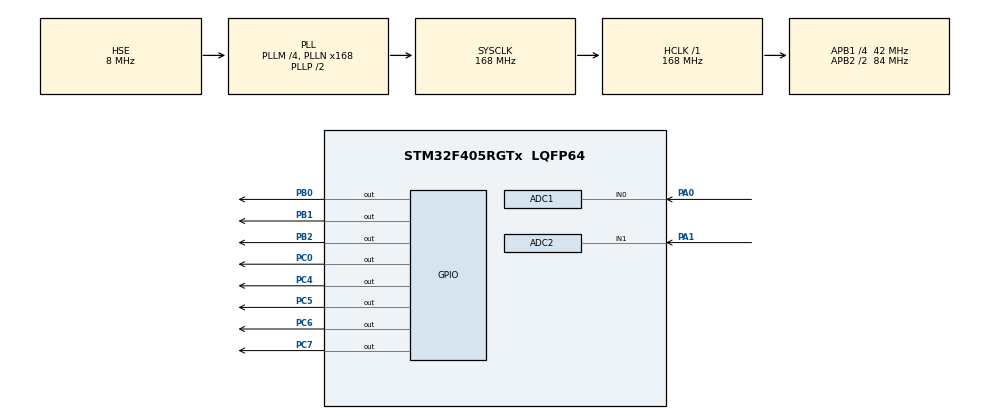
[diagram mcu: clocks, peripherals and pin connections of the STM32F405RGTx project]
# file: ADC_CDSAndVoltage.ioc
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Mcu.Family=STM32F4
RCC.PLLSourceVirtual=RCC_PLLSOURCE_HSE
PH0-OSC_IN.Signal=RCC_OSC_IN
Dma.ADC1.0.Instance=DMA2_Stream0
RCC.CortexFreq_Value=168000000
ADC1.Rank-0\#ChannelRegularConversion=1
ADC2.SamplingTime-1\#ChannelRegularConversion=ADC_SAMPLETIME_56CYCLES
ADC1.ContinuousConvMode=ENABLE
PC4.Signal=GPIO_Output
PC6.Signal=GPIO_Output
PC0.Signal=GPIO_Output
RCC.APB1CLKDivider=RCC_HCLK_DIV4
RCC.SYSCLKSource=RCC_SYSCLKSOURCE_PLLCLK
ProjectManager.StackSize=0x400
PA0-WKUP.Signal=ADCx_IN0
PA13.Signal=SYS_JTMS-SWDIO
Dma.ADC1.0.PeriphDataAlignment=DMA_PDATAALIGN_HALFWORD
ADC2.ContinuousConvMode=ENABLE
ProjectManager.TargetToolchain=EWARM V8.32
ADC2.DMAContinuousRequests=ENABLE
Dma.ADC1.0.Mode=DMA_CIRCULAR
RCC.HCLKFreq_Value=168000000
Dma.ADC1.0.Priority=DMA_PRIORITY_LOW
RCC.APB2TimFreq_Value=168000000
Dma.ADC1.0.Direction=DMA_PERIPH_TO_MEMORY
PC7.Signal=GPIO_Output
NVIC.DMA2_Stream0_IRQn=true\:0\:0\:false\:false\:true\:false\:true
Dma.ADC2.1.Mode=DMA_CIRCULAR
RCC.LSE_VALUE=32768
Dma.ADC1.0.MemDataAlignment=DMA_MDATAALIGN_HALFWORD
PA1.Signal=ADCx_IN1
RCC.AHBFreq_Value=168000000
PH0-OSC_IN.Mode=HSE-External-Oscillator
ADC1.Channel-0\#ChannelRegularConversion=ADC_CHANNEL_0
Dma.ADC2.1.FIFOMode=DMA_FIFOMODE_DISABLE
RCC.HSE_VALUE=8000000
PB2.Signal=GPIO_Output
board=custom
RCC.VCOOutputFreq_Value=336000000
Dma.ADC2.1.Instance=DMA2_Stream2
RCC.APB2Freq_Value=84000000
PA14.Mode=Serial_Wire
Dma.ADC1.0.PeriphInc=DMA_PINC_DISABLE
PH1-OSC_OUT.Signal=RCC_OSC_OUT
Dma.ADC2.1.PeriphInc=DMA_PINC_DISABLE
SH.ADCx_IN0.0=ADC1_IN0,IN0
ADC1.DMAContinuousRequests=ENABLE
Dma.ADC2.1.MemInc=DMA_MINC_ENABLE
ADC1.NbrOfConversion=1
PA13.Mode=Serial_Wire
Mcu.Name=STM32F405RGTx
ADC1.SamplingTime-0\#ChannelRegularConversion=ADC_SAMPLETIME_56CYCLES
PH1-OSC_OUT.Mode=HSE-External-Oscillator
RCC.48MHZClocksFreq_Value=84000000
RCC.SYSCLKFreq_VALUE=168000000
Mcu.Package=LQFP64
Dma.ADC2.1.Direction=DMA_PERIPH_TO_MEMORY
PB1.Signal=GPIO_Output
ADC1.master=1
ADC2.NbrOfConversionFlag=1
ADC2.Channel-1\#ChannelRegularConversion=ADC_CHANNEL_1
PA14.Signal=SYS_JTCK-SWCLK
Dma.ADC1.0.MemInc=DMA_MINC_ENABLE
ProjectManager.HeapSize=0x200
RCC.HSI_VALUE=16000000
NVIC.PriorityGroup=NVIC_PRIORITYGROUP_4
ADC1.NbrOfConversionFlag=1
RCC.APB2CLKDivider=RCC_HCLK_DIV2
SH.ADCx_IN1.0=ADC2_IN1,IN1
Dma.ADC2.1.MemDataAlignment=DMA_MDATAALIGN_HALFWORD
NVIC.DMA2_Stream2_IRQn=true\:0\:0\:false\:false\:true\:false\:true
RCC.PLLM=4
RCC.PLLN=168
ADC2.Rank-1\#ChannelRegularConversion=1
Dma.Request1=ADC2
RCC.APB1TimFreq_Value=84000000
Dma.ADC2.1.Priority=DMA_PRIORITY_LOW
Dma.ADC1.0.FIFOMode=DMA_FIFOMODE_DISABLE
PC5.Signal=GPIO_Output
Dma.Request0=ADC1
RCC.APB1Freq_Value=42000000
PB0.Signal=GPIO_Output
Dma.ADC2.1.PeriphDataAlignment=DMA_PDATAALIGN_HALFWORD

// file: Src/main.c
/* USER CODE BEGIN Header */
/**
  ******************************************************************************
  * @file           : main.c
  * @brief          : Main program body
  ******************************************************************************
  * @attention
  *
  * <h2><center>&copy; Copyright (c) 2020 STMicroelectronics.
  * All rights reserved.</center></h2>
  *
  * This software component is licensed by ST under BSD 3-Clause license,
  * the "License"; You may not use this file except in compliance with the
  * License. You may obtain a copy of the License at:
  *                        opensource.org/licenses/BSD-3-Clause
  *
  ******************************************************************************
  */
/* USER CODE END Header */

#include "main.h"
#include "adc.h"
#include "dma.h"
#include "gpio.h"

/* USER CODE BEGIN Includes */
#include "stdio.h"
#include "lcd.h"
/* USER CODE END Includes */

void SystemClock_Config(void);

int main(void)
{
  /* USER CODE BEGIN 1 */
  uint16_t Cds_adData;
  char Cds_str[10];
  uint16_t V_adData;
  float v_temp;
  char V_str[10];
  /* USER CODE END 1 */

  /* MCU Configuration--------------------------------------------------------*/

  /* Reset of all peripherals, Initializes the Flash interface and the Systick. */
  HAL_Init();

  /* Configure the system clock */
  SystemClock_Config();

  /* Initialize all configured peripherals */
  MX_GPIO_Init();
  MX_DMA_Init();
  MX_ADC1_Init();
  MX_ADC2_Init();
  /* USER CODE BEGIN 2 */
  lcdInit();
  HAL_ADC_Start_DMA(&hadc2, (uint32_t*)&V_adData, sizeof(V_adData));
  HAL_ADC_Start_DMA(&hadc1, (uint32_t*)&Cds_adData, sizeof(Cds_adData));

  /* USER CODE END 2 */

  /* Infinite loop */
  /* USER CODE BEGIN WHILE */
  while (1)
  {
    lcdClear();
    lcdGotoXY(0, 0);
    sprintf(Cds_str, "Cds : %d", Cds_adData);
    lcdPrint(Cds_str);

    v_temp = (float)V_adData * 33 / 4095;

    lcdGotoXY(0, 1);
    sprintf(V_str, "Vres : %.2f", v_temp);
    //sprintf(V_str, "Vres : %d", V_adData);
    lcdPrint(V_str);

    if(Cds_adData < 600) HAL_GPIO_WritePin(GPIOC, GPIO_PIN_0, GPIO_PIN_SET);
    else HAL_GPIO_WritePin(GPIOC, GPIO_PIN_0, GPIO_PIN_RESET);

    HAL_Delay(500);
    /* USER CODE END WHILE */

  }
}

void SystemClock_Config(void)
{
  RCC_OscInitTypeDef RCC_OscInitStruct = {0};
  RCC_ClkInitTypeDef RCC_ClkInitStruct = {0};

  /** Configure the main internal regulator output voltage
  */
  __HAL_RCC_PWR_CLK_ENABLE();
  __HAL_PWR_VOLTAGESCALING_CONFIG(PWR_REGULATOR_VOLTAGE_SCALE1);
  /** Initializes the CPU, AHB and APB busses clocks
  */
  RCC_OscInitStruct.OscillatorType = RCC_OSCILLATORTYPE_HSE;
  RCC_OscInitStruct.HSEState = RCC_HSE_ON;
  RCC_OscInitStruct.PLL.PLLState = RCC_PLL_ON;
  RCC_OscInitStruct.PLL.PLLSource = RCC_PLLSOURCE_HSE;
  RCC_OscInitStruct.PLL.PLLM = 4;
  RCC_OscInitStruct.PLL.PLLN = 168;
  RCC_OscInitStruct.PLL.PLLP = RCC_PLLP_DIV2;
  RCC_OscInitStruct.PLL.PLLQ = 4;
  if (HAL_RCC_OscConfig(&RCC_OscInitStruct) != HAL_OK)
  {
    Error_Handler();
  }
  /** Initializes the CPU, AHB and APB busses clocks
  */
  RCC_ClkInitStruct.ClockType = RCC_CLOCKTYPE_HCLK|RCC_CLOCKTYPE_SYSCLK
                              |RCC_CLOCKTYPE_PCLK1|RCC_CLOCKTYPE_PCLK2;
  RCC_ClkInitStruct.SYSCLKSource = RCC_SYSCLKSOURCE_PLLCLK;
  RCC_ClkInitStruct.AHBCLKDivider = RCC_SYSCLK_DIV1;
  RCC_ClkInitStruct.APB1CLKDivider = RCC_HCLK_DIV4;
  RCC_ClkInitStruct.APB2CLKDivider = RCC_HCLK_DIV2;

  if (HAL_RCC_ClockConfig(&RCC_ClkInitStruct, FLASH_LATENCY_5) != HAL_OK)
  {
    Error_Handler();
  }
}

void Error_Handler(void)
{
}

/************************ (C) COPYRIGHT STMicroelectronics *****END OF FILE****/
